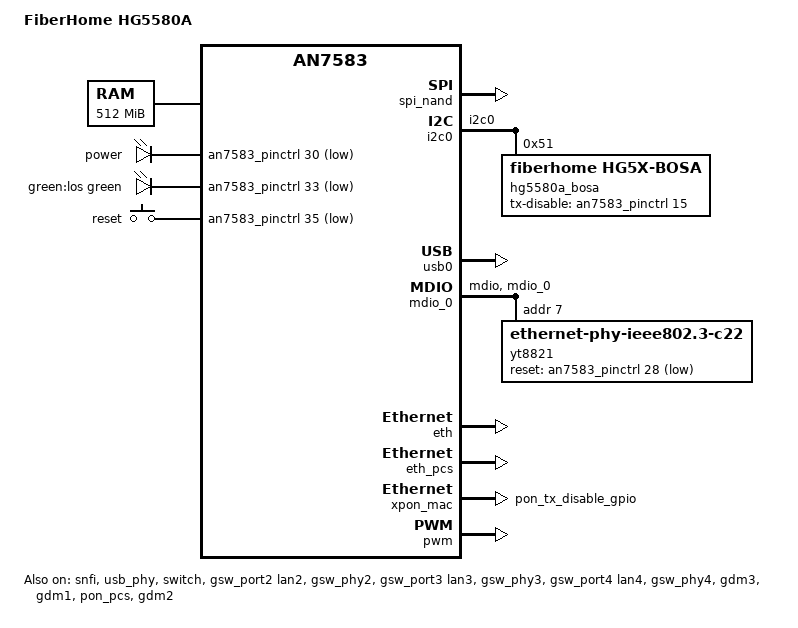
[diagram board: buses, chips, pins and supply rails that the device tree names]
/*
 * Shared hardware description for the FiberHome HG5580A.
 *
 * Partition tables live in separate files so the stock layout and the UBI
 * layout can share this file:
 *
 *   an758x-fiberhome-hg5580a-stock-parts.dtsi   stock 14 partitions,
 *                                               JFFS2/JFFS2-on-overlay
 *   an758x-fiberhome-hg5580a-ubi-parts.dtsi     bl2 + one 190.5 MiB UBI window
 *                                               ending at "factory", fitblk rootfs
 */

// SPDX-License-Identifier: GPL-2.0-only OR MIT
/*
 * FiberHome HG5580A — Airoha AN7583
 *
 * 这份 DTS 以 HG5380A 的移植成果（board/an7583-fiberhome-hg5380a.dts）为底稿，
 * 按本机原厂 KernelA 里 DTB 的反编译结果（备份见
 * backup/vendor-an7583-hg5580a.dtb / .dts，15704 字节，位于 KernelA 0x3100）
 * 逐条校对后修改。
 *
 * 硬件已确认的共同点（来自原厂 DTB / U-Boot / Linux 启动日志）：
 *   - SoC AN7583，512 MiB DDR，SPI-NAND FORESEE F35SQB002G (0xCD/0x52)
 *   - 10 个原厂分区，偏移与 HG5380A 完全一致
 *   - BOSA 在 i2c0 地址 0x51（分页 0x7f，chip id 读 0xA4）
 *   - PON 为 XEPON_10G_1G，SerDes 走 xpon_usxgmii
 *   - LAN2~LAN4 的 LED 由交换芯片内部 PHY 的 led0 功能驱动
 *     （原厂 pinctrl 组 gswp1..gswp4-led0-pins 与本文件相同）
 *
 * 原厂 HG5580A DTB 里 GPIO 相关节点（与 HG5380A 的差异点，务必上机复核）：
 *   leds/pwr_led              gpios = <&gpio 30 ...>   // power_gpio=1e
 *   leds/phy_tx_power_disable gpios = <&gpio 15 ...>   // dsl_gpio=0b? 见下
 *   leds/an8811_reset         gpios = <&gpio 28 ...>
 *   gpio-keys-polled/reset_   gpios = <&gpio 0 ...>
 *   mdio-bus: phy@13(reg 0x0d), phy@14(reg 0x0e), phy@15(reg 0x0f)
 *
 * TODO(上机确认)：
 *   1. 【已实测】2.5G PHY = Motorcomm YT8821，MDIO 地址 0x07，ID 0x4f51ea19。
 *      U-Boot `mii read` 实测寄存器组：
 *          0x07: reg0=0x1040 reg1=0x7949 reg2=0x4F51 reg3=0xEA19 reg4=0x11E1
 *      与 HG5380A 完全一致，可放心套用 kmod-phy-motorcomm。
 *      注意：地址 0x00 读回同一组值（MDIO 地址低位未完全译码），0x0F 全 0
 *      （印证原厂 "Could not get PHY ... addr 15"），0x09 是另一颗器件。
 *      沿用 0x07（与 5380A 参考设计一致），若启动后 PHY 认不到再改 0x00。
 *   2. reset 键 GPIO —— 【U-Boot 阶段读不到，与 HG5380A 情况相同】
 *      原厂 DTB 写 GPIO0；本机用 U-Boot `gpio input` 在按键时轮询了
 *      0/8/16/17/30/33/34/35/36/37/38 共 11 个引脚（955 次采样），
 *      连按多次均无任何电平变化 —— 说明 U-Boot 没有正确 pinmux 这个按键，
 *      它的电平在 U-Boot 里是"死"的。
 *      HG5380A 当年也是同样现象，最后是在 Linux 里数 /proc/interrupts
 *      的 IRQ 增量才定位到 GPIO35 的。
 *      因此这里沿用 GPIO35（5380A 实测值），**上机后必须复核**：
 *        短按复位键，看 /proc/interrupts 里 gpio-keys 的计数是否 +1；
 *        不增长就把 35 依次换成 0/34/36/37 再试（改本文件后重新编译）。
 *      注：按键走 OpenWrt 的 gpio-button-hotplug，config 里已关掉内核
 *      自带的 gpio-keys 驱动。
 *   3. 光信号(LOS)灯 GPIO（HG5380A 是 GPIO33，本机原厂 DTB 里没有这个节点）
 *   4. 光宽带灯 PWM 通道（原厂 pwmleds 用 PWM 通道 10、周期 0x3d0900，
 *      与 HG5380A 相同，但仍需确认 gpio18 是否被 PON 组占用）
 *   5. factory(UBI 卷 fhdata) 里 MAC/SN 的实际值，未接上之前 MAC 是随机的
 *   6. bosacal / identity 两个自建分区在 256 MiB flash 尾部空闲区，
 *      偏移沿用 HG5380A（0xEC00000 / 0xEC20000），本机未写入过，安全
 */
/dts-v1/;

/* Firmware/ATF 占用 DRAM 前 2 MiB。 */
/memreserve/ 0x80000000 0x200000;

#include <dt-bindings/gpio/gpio.h>
#include <dt-bindings/input/input.h>
#include <dt-bindings/leds/common.h>
#include "an7583.dtsi"

/ {
	model = "FiberHome HG5580A";
	compatible = "fiberhome,hg5580a", "airoha,an7583";

	aliases {
		serial0 = &uart1;
	};

	fh_chosen: chosen {
		/*
		 * bootargs is intentionally NOT set here.
		 *
		 * dtc merges properties per node, so if both this file and a
		 * variant's &chosen set bootargs the winner depends on emission
		 * order.  In practice the shared value won and the UBI image
		 * shipped with root=/dev/mtdblock5 rootfstype=squashfs, i.e. it
		 * looked for a partition that layout does not have.
		 *
		 * Single writer: each variant sets the full cmdline in its own
		 * parts file.
		 */
		/*
		 * RootfsB 上的 squashfs。initramfs 镜像会忽略这两个参数
		 * （内核优先跑 initramfs 里的 /init），所以同一条 DTS 可以同时
		 * 服务两种镜像。
		 *
		 * mtdblock 编号必须按本 DTS 的 partitions 子节点顺序数，不能照抄
		 * 别的板子。实际顺序是：
		 *   mtd0 bootloader  mtd1 bootflag   mtd2 KernelA   mtd3 RootfsA
		 *   mtd4 KernelB     mtd5 RootfsB    mtd6 apps      mtd7 rootfs_data
		 *   mtd8 frameworka  mtd9 frameworkb mtd10 factory
		 *   mtd11 bosacal    mtd12 identity
		 * 原先这里写的是 mtdblock6，那是 apps；改成 mtdblock5 指向 RootfsB。
		 * 正常启动时 bargsenv 会按 rootfs_partition_name 覆盖本行，
		 * 但覆盖失效时这个值就会真的被用上，所以必须是正确的。
		 */
		/*
		 * Only the console lives here.  The root specification differs
		 * between variants -- the stock layout boots from RootfsB with a
		 * JFFS2 overlay partition, the UBI layout gets its root from the
		 * UBI "fit" volume via fitblk.  Each variant appends its own in
		 * its parts file.
		 */
		/*
		 * Console only.  Each variant writes the full bootargs in its
		 * parts file, because a bare bootargs-append here would collide
		 * with the platform dtsi and one of them would be dropped.
		 */
		stdout-path = "serial0:115200n8";
	};

	memory@80000000 {
		device_type = "memory";
		reg = <0x0 0x80000000 0x0 0x20000000>;	/* 512 MiB */
	};

	/*
	 * 前面板指示灯。电源灯由硬件常亮，不受 GPIO 控制。
	 * 光信号灯默认用 HG5380A 实测可用的 GPIO33（低有效），
	 * 本机若实测不对，改这里即可（见文件头 TODO 3）。
	 */
	leds {
		compatible = "gpio-leds";

		/*
		 * 【历史说明，保留以便对照原厂 DTS】
		 *
		 * 原厂这里有两个节点：
		 *   leds/an8811_reset           GPIO28 低有效 default-state="off"
		 *   leds/phy_tx_power_disable   GPIO15 高有效 default-state="on"
		 *
		 * 名字里的 "an8811" 是原厂沿用的旧称，本机实测 PHY 是
		 * Motorcomm YT8821（ID 0x4f51ea19 @ MDIO 0x07）。
		 *
		 * 两个节点都已被移出 gpio-leds：
		 *
		 *   an8811_reset   -> 改成 PHY 节点的 reset-gpios，见 &mdio_0 下面
		 *                     yt8821 的说明。用 leds 间接拉高只是电平对，
		 *                     驱动拿不到 reset_gpio，那次硬复位从来没执行。
		 *
		 *   phy_tx_power_disable
		 *                  -> 改成 BOSA 节点的 tx-disable-gpios，见
		 *                     hg5580a_bosa。原厂名字和电平是反的（叫
		 *                     disable 但高有效且 on，即驱动为高），保留原厂
		 *                     写法便于逐行对照。
		 *
		 * 电平行为都不变，变的只是"谁持有这根线"，以及由此带来的
		 * 驱动内部状态。同一个 GPIO 不能被两个消费者同时持有。
		 */


		/*
		 * an8811_reset（GPIO28 低有效）不再写成 LED 节点。
		 *
		 * 原做法是靠 leds-gpio 的 "低有效 + default-state=off" 把线间接
		 * 拉高，效果只是"复位释放"，而且只在 LED 类探测时发生一次。
		 * motorcomm 的 yt8821_config_init() 却要靠 phy_device_reset()
		 * 做一次真实的复位脉冲来清掉 MDIO 总线冲突留下的寄存器污染，
		 * 那个函数只在 PHY 节点有 reset-gpios 时才动作。
		 *
		 * 现在复位线绑在 &mdio_0 下面的 yt8821 节点上：
		 *
		 *     reset-gpios = <&an7583_pinctrl 28 GPIO_ACTIVE_LOW>;
		 *
		 * 同一个 GPIO 不能被两个消费者同时持有（后者 -EBUSY），所以这个
		 * LED 节点必须删掉。它本来也不是指示灯，名字是原厂沿用的旧称。
		 *
		 * 电平行为不变：低有效 + 驱动释放复位 = 引脚输出高。
		 */

		/*
		 * 电源灯：原厂 DTS 用 GPIO30(0x1e)、低有效、default-state="on"。
		 * 实测电源灯常亮，即使不驱动也亮（硬件上拉），所以不是必需项，
		 * 但按原厂写出来更接近真实硬件行为。
		 */
		pwr_led {
			label = "power";
			function = LED_FUNCTION_POWER;
			gpios = <&an7583_pinctrl 30 GPIO_ACTIVE_LOW>;
			default-state = "on";
		};

		led_los: los {
			label = "green:los";
			function = LED_FUNCTION_WAN;
			color = <LED_COLOR_ID_GREEN>;
			gpios = <&an7583_pinctrl 33 GPIO_ACTIVE_LOW>;
			linux,default-trigger = "pon0-los";
		};
	};

		/*
	 * reset 键：**GPIO35**，低有效。
	 *
	 * 这里有一个容易踩的坑，值得写清楚：
	 * 从 CRC 全验证的 KernelA 分区重新导出的厂商 DTB 里，
	 * reset_ 节点写的是 gpios = <&pinctrl 0x00 0x01>，即 GPIO0；
	 * HG5380A 的厂商 DTB 也是同样的 GPIO0。
	 * 但 HG5380A 是**本仓库里已验证能工作**的机型，它的板级 DTS
	 * 用的是 GPIO35 —— 那个值不是抄的厂商 blob，是上机实测出来的。
	 *
	 * 结论：在这颗芯片的原厂 DTB 里，"0" 并不等于物理 GPIO0。
	 * 为了"跟厂商一致"改成 0，会破坏一个已验证可用的按键，
	 * 而且 GPIO0 在 U-Boot 阶段本身就读到过的是固定电平。
	 * 所以保持 GPIO35。
	 *
	 * TODO(上机确认)：5580A 首次启动后，按住复位键看
	 *   /proc/interrupts 或 evtest 是否报 KEY_RESTART；
	 * 若确实不是 35，再按实测值改。
	 */
	gpio-keys {
		compatible = "gpio-keys";

		button-reset {
			label = "reset";
			linux,code = <KEY_RESTART>;
			gpios = <&an7583_pinctrl 35 GPIO_ACTIVE_LOW>;
			debounce-interval = <60>;
		};
	};
};

&an7583_pinctrl {
	gpio-ranges = <&an7583_pinctrl 0 2 53>;

	pon_pins: pon-pins {
		mux {
			function = "pon";
			groups = "pon_tx_disable_gpio";
		};
	};

	mdio0_pins: mdio0-pins {
		mux {
			function = "mdio";
			groups = "mdio";
		};
		conf {
			pins = "mdio_0";
			output-high;
		};
	};

	i2c0_pins: i2c0-pins {
		mux {
			function = "i2c";
			groups = "i2c0";
		};
	};

	i2c1_pins: i2c1-pins {
		mux {
			function = "i2c";
			groups = "i2c1";
		};
	};

	spi_pins: spi-pins {
		mux {
			function = "spi";
			groups = "spi";
		};
	};

	pwm_gpio18_pins: pwm-gpio18-pins {
		mux {
			function = "pwm";
			pins = "gpio18";
			output-enable;
		};
	};
};

&snfi {
	status = "okay";
	pinctrl-names = "default";
	pinctrl-0 = <&spi_pins>;
};

&spi_nand {
	status = "okay";
};

&i2c0 {
	status = "okay";
	pinctrl-names = "default";
	pinctrl-0 = <&i2c0_pins>;

	/*
	 * 光模块：原厂 fhdrv_bosa_driver_init.sh 的判断表
	 *   0x28 -> gn28l95   0x98 -> gn28l98
	 *   0x2e -> ux3361    0x96 -> gn25l96
	 *   0x20 -> ux3320    0x02 -> ux3322
	 * 地址 0x51、分页 0x7f、chip id 读 0xA4。
	 *
	 * 【型号存疑，待上机确认】两处证据互相矛盾：
	 *   - 口头说法：本机光模块是 3361（UX3361），对应 chip id 0x2e
	 *   - 设备自己的记录：factory/fhdata 里的 table 文件写的是 ux3363
	 * 后者是厂商在出厂时写进 flash 的型号字符串，通常比口头描述可靠。
	 * 但 U-Boot 没有 i2c 命令（94 条命令里没有），当前无法读 0xA4 验证，
	 * 只能等 PonWRT 起来后实测。驱动按 paged-bosa 通用方式工作，
	 * 型号差异主要影响校准系数的解释，不影响能否驱动。
	 */
	hg5580a_bosa: optical-front-end@51 {
		compatible = "fiberhome,hg5x-bosa", "airoha,paged-bosa";
		reg = <0x51>;

		/* 原厂 phy_tx_power_disable = GPIO15，默认拉高（关发射） */
		fiberhome,ben-active-high;
		tx-disable-gpios = <&an7583_pinctrl 15 GPIO_ACTIVE_HIGH>;

		/*
		 * 本机的校准表是 FiberHome 自家容器（"fiberhomebdbob"），
		 * 不是 Airoha 的 "APONCAL"。驱动默认两种都不接受，
		 * 只有显式声明这个属性才走 BDBOB 解析路径
		 * （board/airoha-paged-bosa-bdbob-calibration.patch）。
		 *
		 * 只在本机型设置：其他用 UX3363/GN28L95 的机型继续走严格
		 * 的 APONCAL 校验，行为完全不变。
		 */
		fiberhome,bdbob-calibration;

		nvmem-cells = <&bosa_calibration>;
		nvmem-cell-names = "calibration";
		status = "okay";
	};
};

&i2c1 {
	status = "disabled";
};

&usb_phy {
	status = "okay";
};

&usb0 {
	status = "okay";
};

&mdio_0 {
	pinctrl-names = "default";
	pinctrl-0 = <&mdio0_pins>;

	/*
	 * 2.5G PHY —— 已实测确认。
	 *
	 * U-Boot `mii read` 扫全总线结果（2026-11-05）：
	 *   0x07: reg0=0x1040 reg1=0x7949 reg2=0x4F51 reg3=0xEA19 reg4=0x11E1
	 *   => PHY ID 0x4f51ea19 = Motorcomm YT8821（2.5G），与 HG5380A 同款
	 *   0x00 读回同一组值（地址低位未完全译码，属于总线别名）
	 *   0x0F 全 0x0000（印证原厂 "Could not get PHY ... addr 15"）
	 *   0x09 是另一颗器件（reg3=0x0420 reg4=0x0DE1），不是 2.5G PHY
	 *
	 * 沿用 0x07（与 5380A 参考设计一致）。若启动后 PHY 认不到，改 0x00 即可。
	 * 用 "ethernet-phy-ieee802.3-c22" 让内核自己读 ID，读到 0x4f51ea19
	 * 就会绑上 motorcomm 驱动（DEVICE_PACKAGES 里已带 kmod-phy-motorcomm）。
	 *
	 * 【reset-gpios 为什么必须写在这里】
	 *
	 * 本板的 PHY 复位是 GPIO28、低有效。之前这个引脚只出现在 gpio-leds 的
	 * an8811_reset 节点里，靠 "低有效 + default-state=off" 间接把线拉高，
	 * 等于只在 LED 类探测时驱动一次，PHY 驱动自己完全不知道有复位线。
	 *
	 * 后果直接写在 motorcomm 的 yt8821_config_init() 里：
	 *
	 *     phy_device_reset(phydev, 1);      // 拉低复位
	 *     ...
	 *     phy_lock_mdio_bus(phydev);
	 *     phy_device_reset(phydev, 0);      // 释放复位
	 *     ytphy_modify_ext(..., YTPHY_MACR_EN_PHY_ADDR_0, 0);
	 *     phy_unlock_mdio_bus(phydev);
	 *     ...
	 *     yt8821_serdes_init(phydev);
	 *     yt8821_utp_init(phydev);
	 *
	 * phy_device_reset() 只有在 PHY 设备声明了复位 GPIO 时才动作。没有
	 * reset-gpios 时它什么也不做，驱动以为自己完成了一次硬复位，实际
	 * 芯片状态取决于上电默认值和 LED 类的驱动时序。MDIO 总线冲突导致的
	 * 寄存器污染也就清不掉——而这家驱动的注释正说明硬复位就是为了清理
	 * 这种污染。
	 *
	 * 这片树里其他板子都在 PHY 节点上写 reset-gpios，an7583-evb-emmc.dts
	 * 用的就是同一个引脚：
	 *
	 *     reset-gpios = <&an7583_pinctrl 28 GPIO_ACTIVE_LOW>;
	 *
	 * 所以这里照同样的写法补上。加上之后 GPIO28 由 PHY 驱动持有，上面
	 * 那个 leds/an8811_reset 节点就不能再申请同一个引脚（同一引脚被两个
	 * 消费者申请，第二个会 -EBUSY），因此它已被删除，见文件顶部的说明。
	 */
	yt8821: ethernet-phy@7 {
		compatible = "ethernet-phy-ieee802.3-c22";
		reg = <0x7>;
		reset-gpios = <&an7583_pinctrl 28 GPIO_ACTIVE_LOW>;
		reset-assert-us = <10000>;
		reset-deassert-us = <100000>;
	};
};

&switch {
	status = "okay";
	/*
	 * 不要在这里写 pinctrl-0 = <&mdio0_pins>：该 pin group 已归 mdio_0，
	 * 同一组被两个设备申请时第二个会 -EINVAL，switch 探测失败。
	 */
};

&gsw_port2 {
	status = "okay";
	label = "lan2";
};

&gsw_phy2 {
	status = "okay";
	interrupts = <2>;
};

&gsw_port3 {
	status = "okay";
	label = "lan3";
};

&gsw_phy3 {
	status = "okay";
	interrupts = <3>;
};

&gsw_port4 {
	status = "okay";
	label = "lan4";
};

&gsw_phy4 {
	status = "okay";
	interrupts = <4>;
};

&gdm3 {
	status = "okay";
	openwrt,netdev-name = "lan1";
	phy-handle = <&yt8821>;

	/*
	 * phy-mode 必须是 2500base-x，不能改成 2500base-t。
	 *
	 * 这里的 phy-mode 描述的是 MAC <-> PHY 之间的接口，不是网线上的介质。
	 * Airoha 的 MAC 只实现了有限的几种接口模式，见
	 * drivers/net/ethernet/airoha/airoha_eth.c 里注册的 phylink 支持列表：
	 *
	 *     PHY_INTERFACE_MODE_INTERNAL
	 *     PHY_INTERFACE_MODE_SGMII
	 *     PHY_INTERFACE_MODE_1000BASEX
	 *     PHY_INTERFACE_MODE_2500BASEX      <- 只有这个
	 *     PHY_INTERFACE_MODE_10GBASER
	 *     PHY_INTERFACE_MODE_USXGMII
	 *
	 * 里面没有 PHY_INTERFACE_MODE_2500BASET。写成 2500base-t 会让 phylink
	 * 在 phylink_validate() 阶段直接拒绝该接口模式，lan1 根本不会起来。
	 *
	 * 另外这片树里所有 an758x 板子（5380A、5382A、Nokia、H3C、Gemtek、
	 * Unionman、EVB）无一例外都用 2500base-x，也是同一个原因。
	 *
	 * YT8821 的线侧仍然是铜口 2.5GBASE-T：驱动在
	 * yt8821_config_init() 里按 phydev->interface 分支，2500BASEX 时只配置
	 * SerDes 侧，铜口那一侧照常自动协商。所以插普通网线是能协商的。
	 *
	 * 实测记录（2026-11-11，lan1 插 2.5G 电口，修复前）：
	 *   Supported link modes:        2500baseX/Full, 2500baseT/Full
	 *   Advertised auto-negotiation: No
	 *   Auto-negotiation:            off
	 *   Duplex:                      Half
	 *   Link detected:               no
	 * PHY 识别正常（phy_id 0x4f51ea19，driver "YT8821 2.5Gbps PHY"），
	 * MDIO 正常（mdio-bus@c8-mii:07 存在），PCS 正常（eth_pcs okay），
	 * GPIO 电平也正常：
	 *   gpio-28  out hi ACTIVE LOW   复位已释放（当时由 leds 节点驱动）
	 *   gpio-15  out hi              发送已使能
	 *
	 * 但电平对不等于复位发生过。GPIO28 当时归 gpio-leds 的 an8811_reset
	 * 所有，PHY 驱动的 mdio 层拿不到 reset_gpio，于是
	 * mdio_device_reset() 第一行就 return：
	 *
	 *     if (!mdiodev->reset_gpio && !mdiodev->reset_ctrl)
	 *             return;
	 *
	 * yt8821_config_init() 开头那次硬复位（驱动注释写明是为了清掉 MDIO
	 * 总线冲突留下的寄存器污染）因此从未执行，SerDes 初始化跑在一个
	 * 不确定的寄存器基线上。修复见 &mdio_0 下面 yt8821 节点的
	 * reset-gpios，那里有完整说明。
	 */
	phy-mode = "2500base-x";

	nvmem-cells = <&fh_lan_mac>;
	nvmem-cell-names = "mac-address";
};

/*
 * gdm1 是 GSW 交换机的 CPU 口（switch 的 port@6 用 ethernet = <&gdm1>）。
 * 不启用它，DSA 在 dsa_register_switch() 里会因为 conduit 永远不存在而
 * 永久 -EPROBE_DEFER，lan2~lan4 与 switch 的内部 mdio 总线都不会出现。
 */
&gdm1 {
	status = "okay";

	nvmem-cells = <&fh_base_mac>;
	nvmem-cell-names = "mac-address";
};

&eth {
	status = "okay";
};

/*
 * AN7583 NPU（硬件转发加速）—— 关闭。
 *
 * 【结论先行】这块板子上开 NPU 会让设备无法启动，只能停在 U-Boot / 反复重启。
 *
 * 实测记录（2026-11-11，HG5580A）：
 * 把这一节改成 status = "okay" 编译（镜像 33865998 B, md5 0f84fd3ddde3abdfbfa82b14b93b1f5a）
 * 并刷入后，串口能走到
 *
 *     FIT: Selected configuration: "config-1" (OpenWrt fiberhome_hg5580a-ubi)
 *     VFS: Mounted root (squashfs filesystem) readonly on device 259:0.
 *     Run /sbin/init as init process
 *     init: - preinit -
 *
 * 然后停住不再前进，网络完全不通，最后表现为停在 U-Boot 或反复重启。
 * 整段内核日志里没有出现任何 airoha-npu 的 probe 输出，也没有
 * "NPU fw version"，说明它连 probe 都没走完。
 *
 * 这与本项目早先在 HG5380A 上的观察一致（同 SoC、同驱动、同固件）：
 *
 *     airoha-npu 1e900000.npu: NOTICE:  Get secure key in flash
 *     → 看门狗复位
 *
 * 也就是说 5380A 和 5580A 都有这个问题，不是单板偶发。
 *
 * ---------------------------------------------------------------------------
 * 复位后排查过的、确认【不是】原因的部分，留给下次继续：
 *
 * 1. "Get secure key in flash" 这句在当前驱动源码里不存在。
 *    drivers/net/ethernet/airoha/ 与 target/linux/airoha/patches-6.18/
 *    全树 grep 均无命中。所以那句话来自另一版驱动，不能用来判断现在的
 *    失败点，但也不能据此认为问题已消失 —— 实测它仍然起不来。
 *
 * 2. 构建侧是齐的，不是"忘了打包":
 *        CONFIG_NET_AIROHA_NPU=y                （config-6.18）
 *        airoha_npu.o 已链接进 airoha-eth（airoha-eth-y 只含 eth+ppe，
 *        npu 由 obj-$(CONFIG_NET_AIROHA_NPU) 单独进 built-in.a）
 *        /lib/firmware/airoha/an7583_npu_rv32.bin   85432 B < 0x200000
 *        /lib/firmware/airoha/an7583_npu_data.bin    3244 B < 0x10000
 *        固件名与 an7583_npu_soc_data 里 NPU_AN7583_FIRMWARE_* 一致
 *    DTB 也确认过是 status = "okay"（dtc -I dtb -O dts 验过）。
 *
 * 3. 本树已带两条针对性修复，仍未解决:
 *        924-net-airoha-npu-use-coherent-mailbox-dma.patch
 *            mailbox 改 coherent DMA（原来 CPU 写的消息 NPU 可能看不到）
 *        926-net-airoha-npu-bound-mailbox-wait.patch
 *            给 mailbox 等待加时限，避免无限阻塞
 *
 * 4. 同 SoC 其他板子（an7583-evb、an7583-evb-emmc、nokia_xg-040g、
 *    an7581-hg5382a）都写 status = "okay"，但它们都没在这块板子上验证过，
 *    不能当作本板也能开.
 *
 * 下次若要继续调，必须走【不落 flash】的路径（initramfs + U-Boot tftp/
 * XMODEM 引导），确认 NPU 能起来之后再进 sysupgrade，否则每次失败都要
 * 从 U-Boot 恢复。
 * ---------------------------------------------------------------------------
 *
 * 影响面：npu 关闭时 airoha_ppe_init() 走软件路径，基本转发和 NAT 不受
 * 影响，只是没有硬件流表卸载（PPE flow offload）。日常路由/测速不受阻。
 */
&npu {
	status = "disabled";
};

&pon_pcs {
	status = "okay";
};

&eth_pcs {
	status = "okay";
};

&xpon_mac {
	/*
	 * PON 引脚复用必须保留：pon_tx_disable_gpio 组把 15/16/18/19/20
	 * 复用成 PON 功能。撤掉后收侧浮空，会把噪声误判成光信号。
	 * 代价：该组含 gpio18，"光宽带"灯 PWM 暂时用不了。
	 */
	pinctrl-names = "default";
	pinctrl-0 = <&pon_pins>;

	optical-front-end = <&hg5580a_bosa>;
	data-path = <&gdm2>;

	nvmem-cells = <&fh_pon_serial>;
	nvmem-cell-names = "pon-serial";
	status = "okay";
};

&gdm2 {
	airoha,pon-data-path;
	status = "okay";

	nvmem-cells = <&fh_pon_mac>;
	nvmem-cell-names = "mac-address";
};

/*
 * an7583.dtsi 给 CPU 挂了 operating-points-v2（含 required-opps + genpd），
 * 6.18 的 dt_cpufreq 解析时会踩野指针 panic。摘掉 OPP 引用。
 */
&cpu0 {
	/delete-property/ operating-points-v2;
};

&cpu1 {
	/delete-property/ operating-points-v2;
};

&cpufreq {
	/delete-property/ operating-points-v2;
	status = "disabled";
};

/*
 * PWM 控制器是 system-controller@1fbf0200（syscon）的子节点：
 * 驱动用 device_node_to_regmap(dev->parent) 拿寄存器，不能写在顶层，
 * 也不能带 reg（带了会 probe 失败 -12）。
 */
&{/soc/system-controller@1fbf0200} {
	pwm: pwm {
		compatible = "airoha,en7581-pwm";
		#pwm-cells = <3>;
		status = "okay";
	};
};

/ {
	pwmleds {
		compatible = "pwm-leds";
		pinctrl-names = "default";
		pinctrl-0 = <&pwm_gpio18_pins>;
		/* gpio18 已被 PON 引脚组占用，等 pinctrl 补丁后再启用 */
		status = "disabled";

		led_pon: pon {
			label = "green:pon";
			function = LED_FUNCTION_WAN;
			color = <LED_COLOR_ID_GREEN>;
			pwms = <&pwm 10 4000000 1>;
			max-brightness = <255>;
			linux,default-trigger = "pon0-registration";
		};
	};
};
